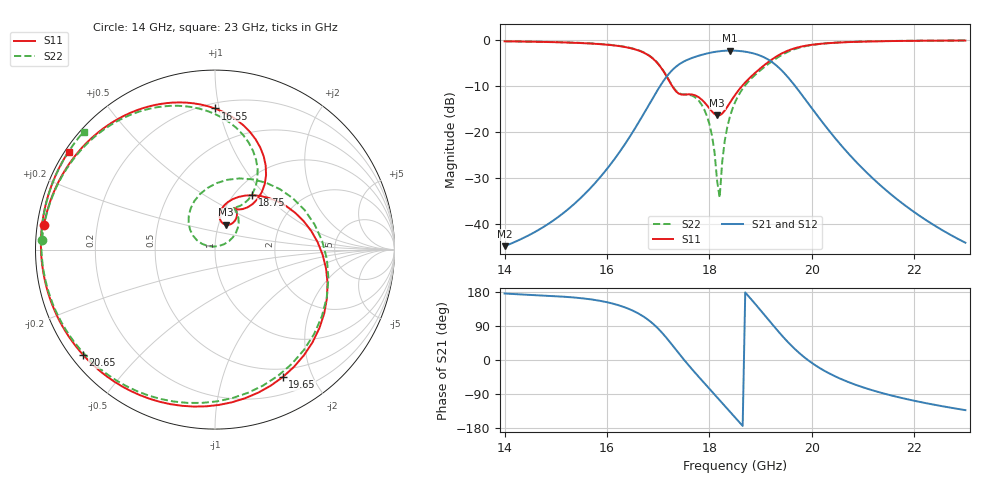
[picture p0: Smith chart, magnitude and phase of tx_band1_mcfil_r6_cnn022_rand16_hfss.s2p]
! Touchstone file exported from HFSS 3D Layout Design 2026.1.0
!  File:  D:/Work/SIM/ADS_AUTO_SIM/projects/RFSOC_RF/TX_Fillter.aedt
!  Generated:  11:20:51 PM Aug 30, 2026
!  Design:  TX_BAND1_MCFIL_R6_CNN022
!  Project:  TX_Fillter
# GHz S MA R 50.000000
! Terminal data exported
! Port[1] = Port1
! Port[2] = Port2
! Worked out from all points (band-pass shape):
!   181 points, 14 GHz to 23 GHz, reference 50 ohm
!   highest |S21| = -2.34 dB at 18.4 GHz (marker M1); lowest = -44.8 dB at 14 GHz (marker M2)
!   |S21| within 3 dB of the highest: 17.41 GHz to 19.28 GHz (1.875 GHz wide, 10.2 % of centre)
!   lowest |S11| = -16.4 dB at 18.15 GHz (marker M3), VSWR 1.36, Z = 54.1 + j15.3 ohm
!   |S11| at or under -10 dB: 17.27 GHz to 18.64 GHz (1.37 GHz wide, 7.63 % of centre)
!   |S22| runs from -34.3 to -0.1 dB; largest |S21 - S12| = 1.3e-14
!   S11 on the Smith chart (normalised r, x): 14 GHz: 0.02, +0.07; 16.55 GHz: 0.24, +0.97; 18.75 GHz: 1.20, +0.84; 19.65 GHz: 0.40, -1.59; 20.65 GHz: 0.03, -0.35; 23 GHz: 0.01, +0.30
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14  0.963 171.7  0.005752 175.4  0.005752 175.4  0.9651 176.7
15.5  0.921 134.5  0.01951 163.1  0.01951 163.1  0.9249 140.2
16.55  0.7862 90.0  0.1099 127.2  0.1099 127.2  0.791 96.5
17  0.5462 58.8  0.2916 82.7  0.2916 82.7  0.5499 65.4
17.3  0.2977 52.4  0.4838 35.2  0.4838 35.2  0.3023 57.9
17.6  0.2561 65.1  0.6162 -14.8  0.6162 -14.8  0.2529 65.6
17.95  0.1952 55.4  0.7095 -68.3  0.7095 -68.3  0.1496 38.9
18.05  0.1668 58.2  0.7296 -83.2  0.7296 -83.2  0.0917 31.2
18.15  0.151 66.7  0.7455 -98.2  0.7455 -98.2  0.02976 42.4
18.2  0.1515 72.2  0.7517 -105.8  0.7517 -105.8  0.01932 121.3
18.3  0.1706 80.5  0.7602 -120.9  0.7602 -120.9  0.08021 156.0
18.4  0.2069 82.3  0.7634 -136.0  0.7634 -136.0  0.1464 147.4
18.5  0.251 78.3  0.7614 -151.1  0.7614 -151.1  0.2091 134.7
18.75  0.3681 55.4  0.7343 170.6  0.7343 170.6  0.3461 96.9
18.95  0.4663 31.1  0.6867 139.1  0.6867 139.1  0.4441 61.8
19.15  0.573 4.2  0.609 106.8  0.609 106.8  0.5459 23.8
19.4  0.7046 -30.3  0.4721 67.0  0.4721 67.0  0.6776 -23.3
19.65  0.8044 -62.0  0.3278 31.4  0.3278 31.4  0.7863 -63.6
20  0.8825 -97.7  0.181 -7.6  0.181 -7.6  0.8773 -105.3
20.65  0.9403 -141.5  0.06393 -54.7  0.06393 -54.7  0.9436 -151.7
21.5  0.9673 -176.1  0.02206 -91.8  0.02206 -91.8  0.9706 174.2
23  0.9818 146.2  0.006269 -132.3  0.006269 -132.3  0.9832 138.0
